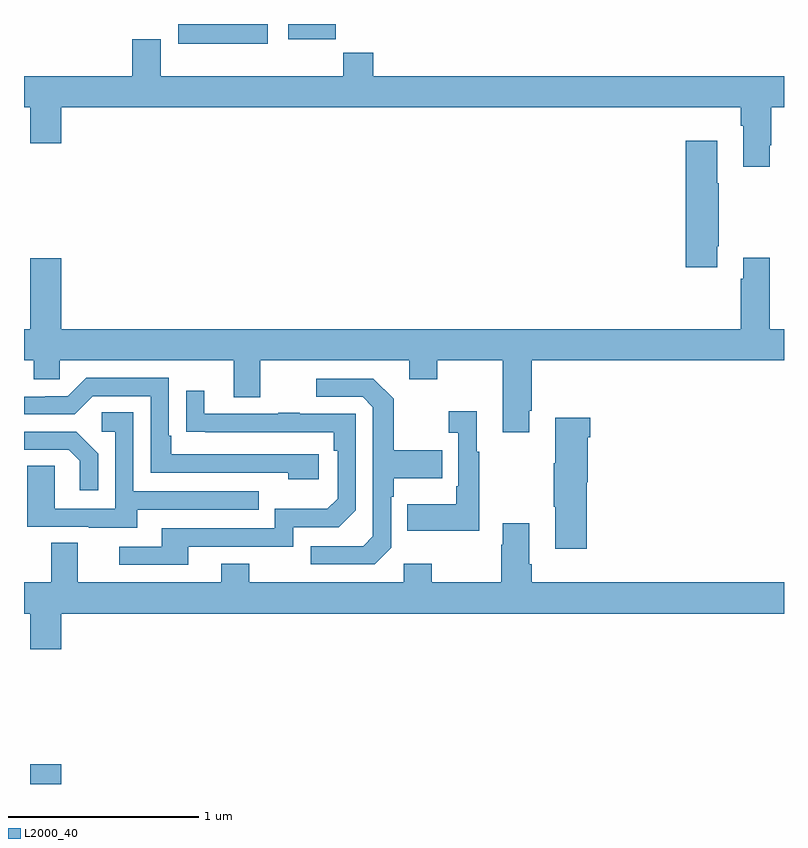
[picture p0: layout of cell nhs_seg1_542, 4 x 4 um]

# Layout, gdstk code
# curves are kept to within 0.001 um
import gdstk
lib = gdstk.Library(unit=1e-6, precision=1e-09)
def R(c, l, rs):  # rectangles x0, y0, x1, y1
    for r in rs: c.add(gdstk.rectangle(r[:2], r[2:], *l))
def P(c, l, *ps):  # polygons
    for p in ps: c.add(gdstk.Polygon(p, *l))
L2000_40 = (2000, 40)

nhs_seg1_542 = lib.new_cell('nhs_seg1_542')
R(nhs_seg1_542, L2000_40, [(141.032,520.199,141.196,520.303), (141.812,524.096,142.282,524.199), (142.391,524.118,142.64,524.199)])
P(nhs_seg1_542, L2000_40, [(142.838,524.048),(142.681,524.048),(142.681,523.924),(141.721,523.924),(141.721,524.119),(141.569,524.119),(141.569,523.924),(141,523.924),(141,523.76),(141.032,523.76),(141.032,523.572),(141.196,523.572),(141.196,523.76),(144.773,523.76),(144.773,523.664),(144.785,523.664),(144.785,523.449),(144.925,523.449),(144.925,523.561),(144.933,523.561),(144.933,523.76),(145,523.76),(145,523.924),(142.838,523.924)],
  [(144.649,523.03),(144.657,523.03),(144.657,523.361),(144.649,523.361),(144.649,523.585),(144.482,523.585),(144.482,522.918),(144.649,522.918)],
  [(143.659,522.163),(143.672,522.163),(143.672,522.428),(145,522.428),(145,522.592),(144.925,522.592),(144.925,522.97),(144.785,522.97),(144.785,522.857),(144.773,522.857),(144.773,522.592),(141.196,522.592),(141.196,522.967),(141.032,522.967),(141.032,522.592),(141,522.592),(141,522.428),(141.051,522.428),(141.051,522.33),(141.189,522.33),(141.189,522.428),(142.103,522.428),(142.103,522.234),(142.243,522.234),(142.243,522.428),(143.027,522.428),(143.027,522.329),(143.175,522.329),(143.175,522.428),(143.519,522.428),(143.519,522.051),(143.659,522.051)],
  [(142.552,521.934),(141.775,521.934),(141.775,522.031),(141.762,522.031),(141.762,522.336),(141.327,522.336),(141.231,522.24),(141.113,522.24),(141.113,522.237),(141,522.237),(141,522.144),(141.267,522.144),(141.363,522.24),(141.666,522.24),(141.666,521.838),(142.391,521.838),(142.391,521.804),(142.552,521.804)],
  [(142.932,521.442),(142.932,521.711),(142.945,521.711),(142.945,521.807),(143.201,521.807),(143.201,521.955),(142.945,521.955),(142.945,522.227),(142.839,522.333),(142.539,522.333),(142.539,522.237),(142.782,522.237),(142.836,522.183),(142.836,521.502),(142.785,521.451),(142.509,521.451),(142.509,521.355),(142.845,521.355)],
  [(141.865,521.448),(142.416,521.448),(142.416,521.55),(142.656,521.55),(142.746,521.64),(142.746,522.147),(142.451,522.147),(142.451,522.152),(142.339,522.152),(142.339,522.147),(141.949,522.147),(141.949,522.27),(141.853,522.27),(141.853,522.052),(142.63,522.051),(142.63,521.954),(142.65,521.954),(142.65,521.7),(142.597,521.647),(142.32,521.647),(142.32,521.544),(141.725,521.544),(141.725,521.448),(141.501,521.448),(141.501,521.352),(141.865,521.352)],
  [(143.395,521.947),(143.383,521.947),(143.383,522.16),(143.235,522.16),(143.235,522.047),(143.286,522.047),(143.286,521.767),(143.274,521.767),(143.274,521.671),(143.017,521.671),(143.017,521.531),(143.395,521.531)],
  [(141.595,521.643),(142.235,521.643),(142.235,521.739),(141.576,521.739),(141.576,522.155),(141.408,522.155),(141.408,522.054),(141.48,522.054),(141.48,521.649),(141.162,521.649),(141.162,521.873),(141.017,521.873),(141.017,521.553),(141.341,521.553),(141.341,521.549),(141.595,521.549)],
  [(143.963,521.787),(143.968,521.787),(143.968,522.023),(143.981,522.023),(143.981,522.127),(143.795,522.127),(143.795,521.887),(143.788,521.887),(143.788,521.659),(143.795,521.659),(143.795,521.436),(143.963,521.436)],
  [(141.39,521.938),(141.274,522.054),(141,522.054),(141,521.958),(141.236,521.958),(141.293,521.901),(141.293,521.745),(141.39,521.745)],
  [(141.196,521.096),(145,521.096),(145,521.26),(143.672,521.26),(143.672,521.356),(143.659,521.356),(143.659,521.572),(143.519,521.572),(143.519,521.459),(143.512,521.459),(143.512,521.26),(143.145,521.26),(143.145,521.359),(142.998,521.359),(142.998,521.26),(142.185,521.26),(142.185,521.359),(142.037,521.359),(142.037,521.26),(141.283,521.26),(141.283,521.468),(141.143,521.468),(141.143,521.26),(141,521.26),(141,521.096),(141.032,521.096),(141.032,520.908),(141.196,520.908)])

lib.write_gds('nhs_seg1_542.gds')
